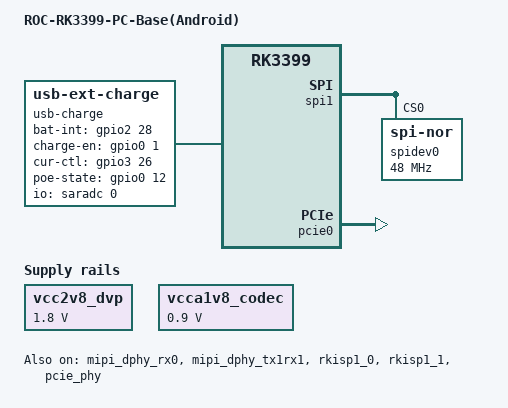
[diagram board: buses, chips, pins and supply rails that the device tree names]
/*
 * Copyright (c) 2016 Fuzhou Rockchip Electronics Co., Ltd
 *
 * This file is dual-licensed: you can use it either under the terms
 * of the GPL or the X11 license, at your option. Note that this dual
 * licensing only applies to this file, and not this project as a
 * whole.
 *
 *  a) This file is free software; you can redistribute it and/or
 *     modify it under the terms of the GNU General Public License as
 *     published by the Free Software Foundation; either version 2 of the
 *     License, or (at your option) any later version.
 *
 *     This file is distributed in the hope that it will be useful,
 *     but WITHOUT ANY WARRANTY; without even the implied warranty of
 *     MERCHANTABILITY or FITNESS FOR A PARTICULAR PURPOSE.  See the
 *     GNU General Public License for more details.
 *
 * Or, alternatively,
 *
 *  b) Permission is hereby granted, free of charge, to any person
 *     obtaining a copy of this software and associated documentation
 *     files (the "Software"), to deal in the Software without
 *     restriction, including without limitation the rights to use,
 *     copy, modify, merge, publish, distribute, sublicense, and/or
 *     sell copies of the Software, and to permit persons to whom the
 *     Software is furnished to do so, subject to the following
 *     conditions:
 *
 *     The above copyright notice and this permission notice shall be
 *     included in all copies or substantial portions of the Software.
 *
 *     THE SOFTWARE IS PROVIDED "AS IS", WITHOUT WARRANTY OF ANY KIND,
 *     EXPRESS OR IMPLIED, INCLUDING BUT NOT LIMITED TO THE WARRANTIES
 *     OF MERCHANTABILITY, FITNESS FOR A PARTICULAR PURPOSE AND
 *     NONINFRINGEMENT. IN NO EVENT SHALL THE AUTHORS OR COPYRIGHT
 *     HOLDERS BE LIABLE FOR ANY CLAIM, DAMAGES OR OTHER LIABILITY,
 *     WHETHER IN AN ACTION OF CONTRACT, TORT OR OTHERWISE, ARISING
 *     FROM, OUT OF OR IN CONNECTION WITH THE SOFTWARE OR THE USE OR
 *     OTHER DEALINGS IN THE SOFTWARE.
 */

/dts-v1/;

#include "rk3399-firefly-port.dtsi"

/ {
	model = "ROC-RK3399-PC-Base(Android)";
	compatible = "rockchip,android", "rockchip,roc-rk3399-pc", "rockchip,rk3399";

	test-power {
		status = "okay";
	};

	usb-charge {
		compatible = "usb-ext-charge";
		status = "okay";
		io-channels = <&saradc 0>;
        extcon = <&fusb0>;
		pinctrl-names = "default";
		pinctrl-0 = <&vcc_chargen_h &bat_int_h &cur_ctl_h &poe_det_h>;
	    bat-int = <&gpio2 28 IRQ_TYPE_EDGE_RISING>;
		charge-en-gpios = <&gpio0 1 GPIO_ACTIVE_HIGH>;
		cur-ctl-gpios = <&gpio3 26 GPIO_ACTIVE_HIGH>;
		poe-state-gpios = <&gpio0 12 GPIO_ACTIVE_HIGH>;
	};

};




/* camera */
&i2c1 {

	XC6130b: XC6130b@23{
        status = "disabled";
        compatible = "firefly,xc7022";
        reg = <0x23>;
            clocks = <&cru SCLK_CIF_OUT>;
            clock-names = "xvclk";
            //avdd-supply = <&vcc_mipi>;
            reset-gpios = <&gpio1 22 GPIO_ACTIVE_HIGH>;
            pinctrl-names = "rockchip,camera_default";
            pinctrl-0 = <&cif_clkout>;

			firefly,clkout-enabled-index = <0>;
            rockchip,camera-module-index = <0>;
            rockchip,camera-module-facing = "back";
            rockchip,camera-module-name = "NC";
            rockchip,camera-module-lens-name = "NC";
        port {
                ucam_out0: endpoint {
                        remote-endpoint = <&mipi_in_ucam0>;
                        data-lanes = <1 2>;
                };
        };
	};
	XC7022b: XC7022b@1b{
		status = "disabled";
        compatible = "firefly,xc7022";
        reg = <0x1b>;
            clocks = <&cru SCLK_CIF_OUT>;
            clock-names = "xvclk";
            //avdd-supply = <&vcc_mipi>;
            reset-gpios = <&gpio1 23 GPIO_ACTIVE_HIGH>;
            pinctrl-names = "rockchip,camera_default";
            pinctrl-0 = <&cif_clkout>;

			firefly,clkout-enabled-index = <0>;
            rockchip,camera-module-index = <1>;
            rockchip,camera-module-facing = "front";
            rockchip,camera-module-name = "NC";
            rockchip,camera-module-lens-name = "NC";
        port {
                ucam_out1: endpoint {
                        remote-endpoint = <&mipi_in_ucam1>;
                        data-lanes = <1 2>;
                };
        };
	};
};

&mipi_dphy_rx0 {
	status = "okay";
	ports {
		port@1 {
			reg = <1>;
			#address-cells = <1>;
			#size-cells = <0>;
			dphy_rx0_out: endpoint@0 {
				reg = <0>;
				remote-endpoint = <&isp0_mipi_in>;
				// isp 端的 port 名
			};
		};
	};
};

&mipi_dphy_tx1rx1 {
    status = "okay";
    ports {
        port@1 {
            reg = <1>;
            #address-cells = <1>;
            #size-cells = <0>;
            dphy_tx1rx1_out: endpoint@0 {
                    reg = <0>;
                    remote-endpoint = <&isp1_mipi_in>;
            };
        };
    };
};

&rkisp1_0 {
    status = "okay";
    port {
		#address-cells = <1>;
		#size-cells = <0>;
		isp0_mipi_in: endpoint@0 {
			reg = <0>;
			remote-endpoint = <&dphy_rx0_out>;
			// mipi dphy 端的 port 名
		};
	};
};

&rkisp1_1 {
    status = "okay";
    port {
		#address-cells = <1>;
		#size-cells = <0>;
		isp1_mipi_in: endpoint@0 {
			reg = <0>;
			remote-endpoint = <&dphy_tx1rx1_out>;
			// mipi dphy 端的 port 名
		};
	};
};

&isp0_mmu {
    status = "okay";
    //status = "disabled";
};

&isp1_mmu {
    status = "okay";
};


/* ROC-RK3399-PC porting */
&vcc2v8_dvp {
    regulator-min-microvolt = <1800000>;
    regulator-max-microvolt = <1800000>;
};

&vcca1v8_codec {
    regulator-min-microvolt = <900000>;
    regulator-max-microvolt = <900000>;
};
&io_domains {
    bt656-supply = <&vcc_3v0>;
};

&rk808 {
	pinctrl-0 = <&pmic_int_l &pmic_dvs2>;
	/delete-property/ pmic,hold-gpio;
	/delete-property/ pmic,stby-gpio;
};

&vcc3v3_3g {
	status = "disabled";
};

&rt5640 {
	status = "disabled";
};
&rt5640_sound {
	status = "disabled";
};

&spi1{
	status = "okay";
    spidev0: spidev@00 {
        status = "okay";
        compatible = "jedec,spi-nor";
        reg = <0x00>;
        spi-max-frequency = <48000000>;
    };
};
&uart4 {
	status = "disable";

};
/* END ROC-RK3399-PC porting */

&pcie_phy {
	status = "okay";
};

&pcie0 {
	status = "okay";
};

&pinctrl {
	chargen {
		vcc_chargen_h: vcc-chargen-h {
			rockchip,pins = <0 1 RK_FUNC_GPIO &pcfg_pull_none>;
		};
		bat_int_h: bat-int-h {
			rockchip,pins = <2 28 RK_FUNC_GPIO &pcfg_pull_none>;
		};
		cur_ctl_h: cur-ctl-h {
			rockchip,pins = <3 26 RK_FUNC_GPIO &pcfg_pull_none_20ma>;
		};
		poe_det_h: poe-det-h {
			rockchip,pins = <0 12 RK_FUNC_GPIO &pcfg_pull_down>;
		};
	};

};

